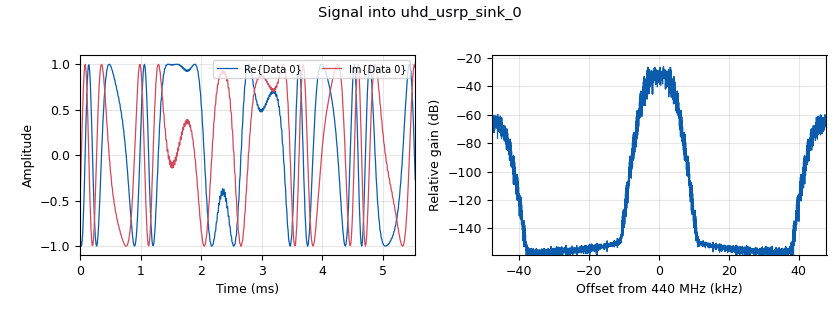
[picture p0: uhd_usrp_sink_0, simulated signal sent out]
options:
  parameters:
    category: Custom
    generate_options: qt_gui
    id: top_block
    output_language: python
  states: {}

blocks:
- name: pl
  id: variable_qtgui_range
  parameters:
    label: Amplitude
    orient: Qt.Horizontal
    start: '0'
    step: '0.05'
    stop: '1'
    value: '1'
  states: {}
- name: r0
  id: variable_qtgui_range
  parameters:
    label: RF frequency (Hz)
    orient: Qt.Horizontal
    start: 400e6
    step: 100e3
    stop: 500e6
    value: 440e6
  states: {}
- name: rxgain
  id: variable_qtgui_range
  parameters:
    label: RX Gain
    orient: Qt.Horizontal
    start: '0'
    step: '1'
    stop: '100'
    value: '75'
  states: {}
- name: samp_rate
  id: variable
  parameters:
    value: '96000'
  states: {}
- name: txgain
  id: variable_qtgui_range
  parameters:
    label: TX Gain
    orient: Qt.Horizontal
    start: '0'
    step: '1'
    stop: '100'
    value: '50'
  states: {}
- name: analog_nbfm_rx_0
  id: analog_nbfm_rx
  parameters:
    audio_rate: '48000'
    max_dev: 2.5e3
    quad_rate: samp_rate
    tau: '75e-6'
  states: {}
- name: analog_nbfm_tx_0
  id: analog_nbfm_tx
  parameters:
    audio_rate: '48000'
    fh: '-1.0'
    max_dev: 2.5e3
    quad_rate: samp_rate
    tau: '75e-6'
  states: {}
- name: analog_pwr_squelch_xx_0
  id: analog_pwr_squelch_xx
  parameters:
    alpha: '1e-3'
    gate: 'True'
    ramp: '0'
    threshold: '-60'
    type: complex
  states: {}
- name: analog_sig_source_x_0
  id: analog_sig_source_x
  parameters:
    amp: pl
    freq: '114.8'
    offset: '0'
    phase: '0'
    samp_rate: 48e3
    type: float
    waveform: analog.GR_COS_WAVE
  states: {}
- name: analog_sig_source_x_0_0
  id: analog_sig_source_x
  parameters:
    amp: '.6'
    freq: 1e3
    offset: '0'
    phase: '0'
    samp_rate: 48e3
    type: float
    waveform: analog.GR_COS_WAVE
  states: {}
- name: audio_sink_0
  id: audio_sink
  parameters:
    ok_to_block: 'False'
    samp_rate: '48000'
  states: {}
- name: audio_source_0
  id: audio_source
  parameters:
    ok_to_block: 'False'
    samp_rate: '48000'
  states: {state: disabled}
- name: blocks_add_xx_0
  id: blocks_add_xx
  parameters:
    type: float
  states: {}
- name: blocks_multiply_const_vxx_0
  id: blocks_multiply_const_vxx
  parameters:
    const: '10'
    type: float
  states: {}
- name: qtgui_freq_sink_x_0
  id: qtgui_freq_sink_x
  parameters:
    bw: samp_rate
    fc: r0
    fftsize: '1024'
    type: complex
    wintype: firdes.WIN_BLACKMAN_hARRIS
  states: {}
- name: qtgui_time_sink_x_0
  id: qtgui_time_sink_x
  parameters:
    nconnections: '2'
    size: '1024'
    srate: samp_rate
    type: float
  states: {}
- name: uhd_usrp_sink_0
  id: uhd_usrp_sink
  parameters:
    ant0: TX/RX
    bw0: samp_rate/2
    center_freq0: r0
    clock_rate: '0.0'
    dev_args: '""'
    gain0: txgain
    len_tag_name: ''
    norm_gain0: 'False'
    samp_rate: samp_rate
    sync: sync
    type: fc32
  states: {}
- name: uhd_usrp_source_0
  id: uhd_usrp_source
  parameters:
    ant0: RX2
    bw0: samp_rate/2
    center_freq0: r0
    clock_rate: '0.0'
    dc_offs_enb0: '""'
    dev_args: '""'
    gain0: rxgain
    iq_imbal_enb0: '""'
    norm_gain0: 'False'
    samp_rate: samp_rate
    sync: sync
    type: fc32
  states: {}

connections:
- [analog_nbfm_rx_0, '0', blocks_multiply_const_vxx_0, '0']
- [analog_nbfm_tx_0, '0', uhd_usrp_sink_0, '0']
- [analog_pwr_squelch_xx_0, '0', analog_nbfm_rx_0, '0']
- [analog_sig_source_x_0, '0', blocks_add_xx_0, '0']
- [analog_sig_source_x_0_0, '0', blocks_add_xx_0, '1']
- [audio_source_0, '0', blocks_add_xx_0, '1']
- [blocks_add_xx_0, '0', analog_nbfm_tx_0, '0']
- [blocks_add_xx_0, '0', qtgui_time_sink_x_0, '1']
- [blocks_multiply_const_vxx_0, '0', audio_sink_0, '0']
- [blocks_multiply_const_vxx_0, '0', qtgui_time_sink_x_0, '0']
- [uhd_usrp_source_0, '0', analog_pwr_squelch_xx_0, '0']
- [uhd_usrp_source_0, '0', qtgui_freq_sink_x_0, '0']

metadata:
  file_format: 1
